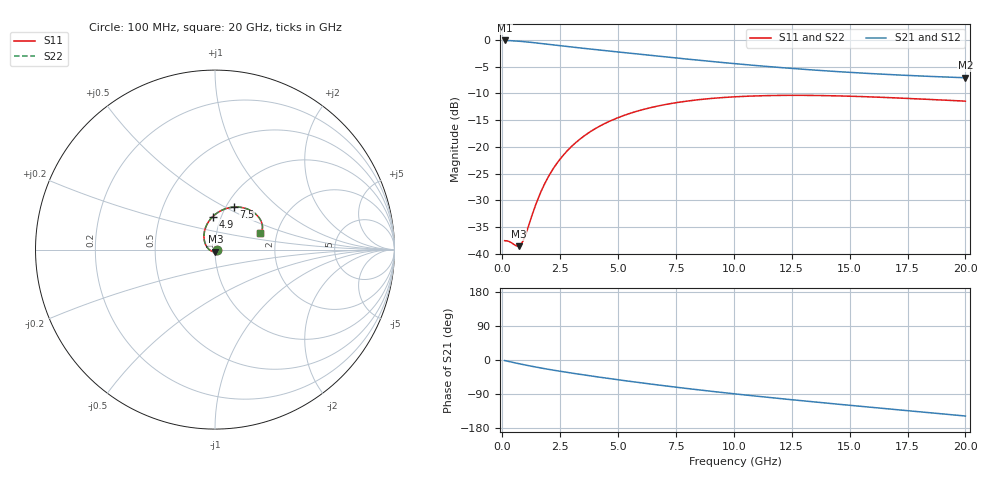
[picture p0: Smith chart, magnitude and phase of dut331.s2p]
! Touchstone file exported from HFSS 2024.1.0
!  File:  C:/UserFiles/LocalFiles/RDL_TSV_Batchsim/temp_RDL_TSV_331_1779631898.aedt
!  Generated:  10:27:49 PM May 24, 2026
!  Design:  RDL_TSV
!  Project:  temp_RDL_TSV_331_1779631898
!  Setup:  Setup1
!  Solution:  Sweep
! Variables:
!  dtsv = 12.26um
!  hbump = 3um
!  htsv = 57.59um
!  ldown = 330.43um
!  lrdl = 278.21um
!  p = 40
!  p1 = 50.23um
!  rhole = 10um
!  subl = 2104.13um
!  t = 450um
!  tdown = 2.2um
!  trdl = 2.72um
!  viad = 10um
!  wdown = 20.52um
!  wrdl = 29.67um
!  xbump = 18um
# GHz S MA R 50.000000
! Terminal data exported
! Port[1] = TM1_1_T1
! Port[2] = TM1_4_T1
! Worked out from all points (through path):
!   200 points, 100 MHz to 20 GHz, reference 50 ohm
!   highest |S21| = -0.12 dB at 100 MHz (marker M1); lowest = -7.1 dB at 20 GHz (marker M2)
!   group delay of S21, straight-line fit = 19.4 ps
!   lowest |S11| = -38.6 dB at 700 MHz (marker M3), VSWR 1.02, Z = 50.2 - j1.16 ohm
!   |S11| at or under -10 dB: start of sweep to end of sweep
!   |S22| runs from -38.6 to -10.4 dB; largest |S21 - S12| = 9.8e-15
!   S11 on the Smith chart (normalised r, x): 100 MHz: 1.03, -0.00; 4.9 GHz: 0.91, +0.35; 7.5 GHz: 1.09, +0.55; 20 GHz: 1.63, +0.33
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0.1  0.01328 -7.2  0.9862 -1.4  0.9862 -1.4  0.01328 -7.2
! Gamma 0 0 0 0
! Port Impedance 50 0 50 0
0.3  0.01303 -24.5  0.9829 -4.2  0.9829 -4.2  0.01303 -24.5
0.7  0.0118 -78.9  0.9707 -9.5  0.9707 -9.5  0.01178 -78.9
0.8  0.0122 -96.3  0.9668 -10.8  0.9668 -10.8  0.01219 -96.4
0.9  0.01325 -113.4  0.9626 -12.1  0.9626 -12.1  0.01325 -113.5
1  0.01498 -128.9  0.9582 -13.3  0.9582 -13.3  0.01498 -129.0
1.4  0.02708 -171.0  0.9386 -18.1  0.9386 -18.1  0.02713 -171.1
1.6  0.03507 176.0  0.9281 -20.4  0.9281 -20.4  0.03514 175.9
1.8  0.04378 165.6  0.9175 -22.5  0.9175 -22.5  0.04387 165.5
2.1  0.05768 153.2  0.9016 -25.7  0.9016 -25.7  0.0578 153.2
2.7  0.08672 134.7  0.8709 -31.7  0.8709 -31.7  0.0869 134.7
3.5  0.1248 116.7  0.8331 -39.1  0.8331 -39.1  0.1251 116.6
4.2  0.1558 104.3  0.8026 -45.3  0.8026 -45.3  0.1561 104.3
4.9  0.1837 94.1  0.7738 -51.3  0.7738 -51.3  0.1841 94.1
5.8  0.2147 82.9  0.7385 -58.7  0.7385 -58.7  0.2151 83.0
6.8  0.2427 72.6  0.7014 -66.5  0.7014 -66.5  0.2432 72.6
7.5  0.2584 66.3  0.6768 -71.7  0.6768 -71.7  0.2589 66.3
10.1  0.2938 48.0  0.5971 -89.8  0.5971 -89.8  0.2944 48.0
11.7  0.3017 39.7  0.5575 -100.0  0.5575 -100.0  0.3023 39.7
13.4  0.3022 32.7  0.5229 -110.2  0.5229 -110.2  0.3027 32.8
16.7  0.2884 23.8  0.4738 -129.2  0.4738 -129.2  0.2888 23.9
20  0.2673 20.5  0.442 -147.8  0.442 -147.8  0.2676 20.6
